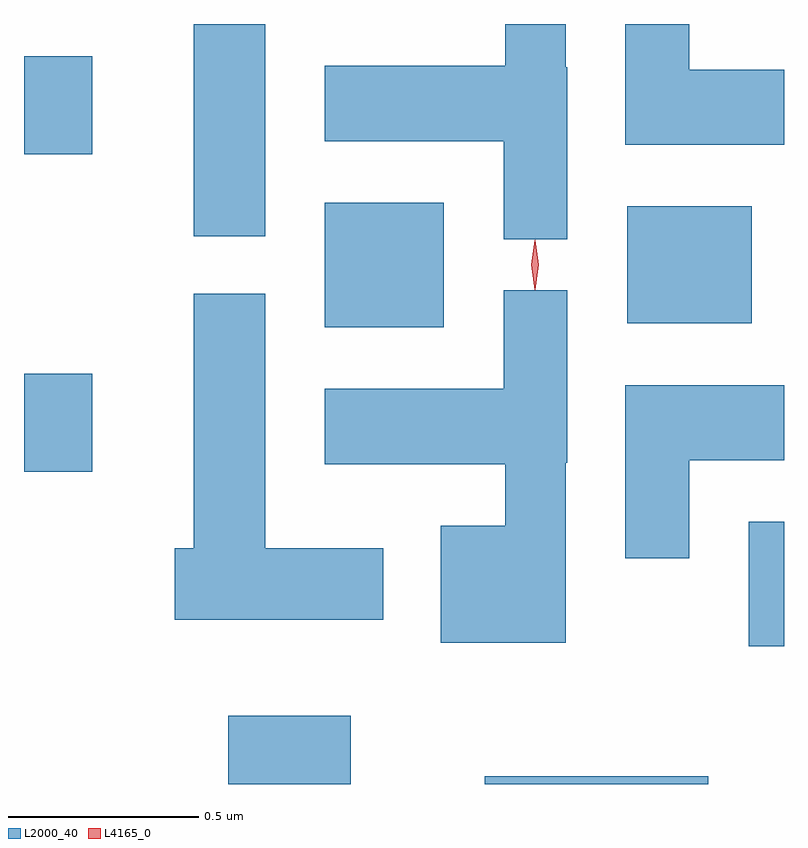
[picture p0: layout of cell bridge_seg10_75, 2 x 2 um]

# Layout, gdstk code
import gdstk
lib = gdstk.Library(unit=1e-6, precision=1e-09)
def R(c, l, rs):  # rectangles x0, y0, x1, y1
    for r in rs: c.add(gdstk.rectangle(r[:2], r[2:], *l))
def P(c, l, *ps):  # polygons
    for p in ps: c.add(gdstk.Polygon(p, *l))
L2000_40 = (2000, 40)
L4165_0 = (4165, 0)

bridge_seg10_75 = lib.new_cell('bridge_seg10_75')
R(bridge_seg10_75, L2000_40, [(1623.876,2153.524,1624.199,2153.704), (1624.551,2153.524,1625.139,2153.544), (1625.246,2153.886,1625.339,2154.214), (1623.339,2154.346,1623.519,2154.604), (1624.131,2154.726,1624.444,2155.054), (1624.926,2154.736,1625.254,2155.044), (1623.786,2154.966,1623.974,2155.524), (1623.339,2155.181,1623.519,2155.439)])
P(bridge_seg10_75, L2000_40, [(1625.339,2155.404),(1625.089,2155.404),(1625.089,2155.524),(1624.921,2155.524),(1624.921,2155.206),(1625.339,2155.206)],
  [(1624.769,2155.41),(1624.764,2155.41),(1624.764,2155.524),(1624.606,2155.524),(1624.606,2155.414),(1624.131,2155.414),(1624.131,2155.216),(1624.601,2155.216),(1624.601,2154.958),(1624.769,2154.958)],
  [(1624.764,2154.37),(1624.769,2154.37),(1624.769,2154.823),(1624.601,2154.823),(1624.601,2154.564),(1624.131,2154.564),(1624.131,2154.366),(1624.606,2154.366),(1624.606,2154.204),(1624.436,2154.204),(1624.436,2153.896),(1624.764,2153.896)],
  [(1624.284,2154.144),(1623.974,2154.144),(1623.974,2154.814),(1623.786,2154.814),(1623.786,2154.144),(1623.736,2154.144),(1623.736,2153.956),(1624.284,2153.956)],
  [(1625.089,2154.376),(1625.339,2154.376),(1625.339,2154.574),(1624.921,2154.574),(1624.921,2154.118),(1625.089,2154.118)])
P(bridge_seg10_75, L4165_0, [(1624.684,2154.824),(1624.683,2154.825),(1624.674,2154.89),(1624.683,2154.955),(1624.684,2154.956),(1624.684,2154.955),(1624.694,2154.89),(1624.684,2154.825)],
  [(1624.684,2154.827),(1624.683,2154.828),(1624.674,2154.89),(1624.683,2154.952),(1624.684,2154.952),(1624.684,2154.952),(1624.694,2154.89),(1624.684,2154.828)])

lib.write_gds('bridge_seg10_75.gds')
